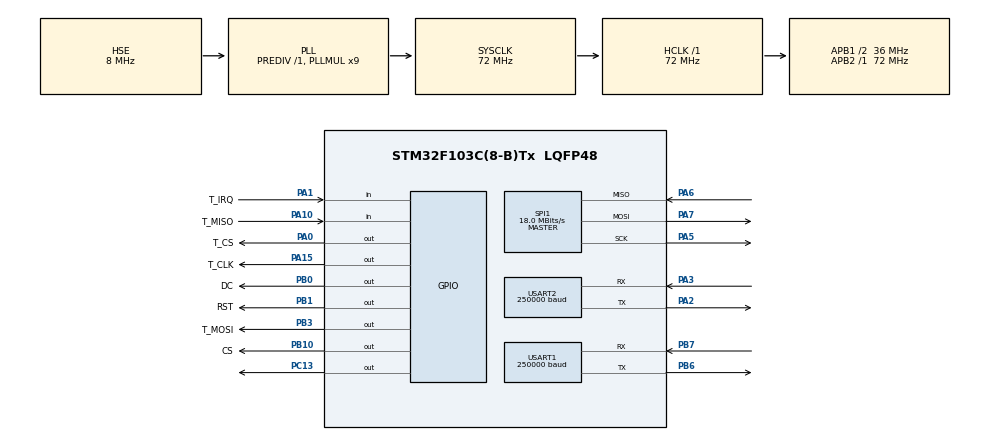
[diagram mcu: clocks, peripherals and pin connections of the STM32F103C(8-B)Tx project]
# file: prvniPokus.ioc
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Mcu.Family=STM32F1
Mcu.Name=STM32F103C(8-B)Tx
Mcu.Package=LQFP48
NVIC.PriorityGroup=NVIC_PRIORITYGROUP_4
NVIC.TIM2_IRQn=true\:0\:0\:false\:false\:true\:true\:true\:true
NVIC.USART1_IRQn=true\:0\:0\:false\:false\:true\:true\:true\:true
NVIC.USART2_IRQn=true\:0\:0\:false\:false\:true\:true\:true\:true
PA0-WKUP.GPIO_Label=T_CS
PA0-WKUP.Signal=GPIO_Output
PA1.GPIO_Label=T_IRQ
PA1.Signal=GPIO_Input
PA10.GPIO_Label=T_MISO
PA10.Signal=GPIO_Input
PA13.Mode=Serial_Wire
PA13.Signal=SYS_JTMS-SWDIO
PA14.Mode=Serial_Wire
PA14.Signal=SYS_JTCK-SWCLK
PA15.GPIO_Label=T_CLK
PA15.GPIO_Speed=GPIO_SPEED_FREQ_HIGH
PA15.Signal=GPIO_Output
PA2.Mode=Asynchronous
PA2.Signal=USART2_TX
PA3.Mode=Asynchronous
PA3.Signal=USART2_RX
PA4.Signal=SPI1_NSS
PA5.Mode=Full_Duplex_Master
PA5.Signal=SPI1_SCK
PA6.Mode=Full_Duplex_Master
PA6.Signal=SPI1_MISO
PA7.Mode=Full_Duplex_Master
PA7.Signal=SPI1_MOSI
PB0.GPIO_Label=DC
PB0.GPIO_Speed=GPIO_SPEED_FREQ_HIGH
PB0.Signal=GPIO_Output
PB1.GPIO_Label=RST
PB1.GPIO_Speed=GPIO_SPEED_FREQ_HIGH
PB1.Signal=GPIO_Output
PB10.GPIO_Label=CS
PB10.GPIO_Speed=GPIO_SPEED_FREQ_HIGH
PB10.PinState=GPIO_PIN_RESET
PB10.Signal=GPIO_Output
PB3.GPIO_Label=T_MOSI
PB3.GPIO_Speed=GPIO_SPEED_FREQ_HIGH
PB3.Signal=GPIO_Output
PB6.Mode=Asynchronous
PB6.Signal=USART1_TX
PB7.Mode=Asynchronous
PB7.Signal=USART1_RX
PC13-TAMPER-RTC.Signal=GPIO_Output
PD0-OSC_IN.Mode=HSE-External-Oscillator
PD0-OSC_IN.Signal=RCC_OSC_IN
PD1-OSC_OUT.Mode=HSE-External-Oscillator
PD1-OSC_OUT.Signal=RCC_OSC_OUT
ProjectManager.HeapSize=0x200
ProjectManager.StackSize=0x400
ProjectManager.TargetToolchain=STM32CubeIDE
RCC.AHBFreq_Value=72000000
RCC.APB1CLKDivider=RCC_HCLK_DIV2
RCC.APB1Freq_Value=36000000
RCC.APB1TimFreq_Value=72000000
RCC.APB2Freq_Value=72000000
RCC.APB2TimFreq_Value=72000000
RCC.HCLKFreq_Value=72000000
RCC.PLLMUL=RCC_PLL_MUL9
RCC.PLLSourceVirtual=RCC_PLLSOURCE_HSE
RCC.SYSCLKFreq_VALUE=72000000
RCC.SYSCLKSource=RCC_SYSCLKSOURCE_PLLCLK
RCC.USBFreq_Value=72000000
SPI1.BaudRatePrescaler=SPI_BAUDRATEPRESCALER_4
SPI1.CalculateBaudRate=18.0 MBits/s
SPI1.Direction=SPI_DIRECTION_2LINES
SPI1.Mode=SPI_MODE_MASTER
SPI1.VirtualType=VM_MASTER
TIM2.Period=1756
TIM2.Prescaler=1000
USART1.BaudRate=250000
USART1.StopBits=STOPBITS_2
USART1.VirtualMode=VM_ASYNC
USART2.BaudRate=250000
USART2.StopBits=STOPBITS_2
USART2.VirtualMode=VM_ASYNC
VP_TIM2_VS_ClockSourceINT.Mode=Internal
board=custom

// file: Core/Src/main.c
/* USER CODE BEGIN Header */
/**
  ******************************************************************************
  * @file           : main.c
  * @brief          : Main program body
  ******************************************************************************
  * @attention
  *
  * Copyright (c) 2023 STMicroelectronics.
  * All rights reserved.
  *
  * This software is licensed under terms that can be found in the LICENSE file
  * in the root directory of this software component.
  * If no LICENSE file comes with this software, it is provided AS-IS.
  *
  ******************************************************************************
  */
/* USER CODE END Header */
#include "main.h"
#include "spi.h"
#include "tim.h"
#include "usart.h"
#include "gpio.h"

/* USER CODE BEGIN Includes */
#include "ILI9341_Touchscreen.h"

#include "ILI9341_STM32_Driver.h"
#include "ILI9341_GFX.h"

//#include "snow_tiger.h"

/* USER CODE END Includes */

/* USER CODE BEGIN PD */
//#define set_pa9_uart() GPIOA->CRH = 0x000000B0 //DEFINE pro -> parametry DMX512, uarty a další PINy
//#define toggle_usart1_de_re() GPIOA->ODR ^= 0x0030
/* USER CODE END PD */

/* USER CODE BEGIN PV */
/* Private variables ---------------------------------------------------------*/

/* USER CODE END PV */

void SystemClock_Config(void);
/* USER CODE BEGIN PFP */
/* Private function prototypes -----------------------------------------------*/

/* USER CODE END PFP */

/* USER CODE BEGIN 0 */
volatile uint8_t uartBuff1[513];
/* USER CODE END 0 */

int main(void)
{
  /* USER CODE BEGIN 1 */
	for(int i=0;i<514;i++)
		{
			uartBuff1[i]=0;
		}
	uartBuff1[0]=0;
	uartBuff1[1]=255;
	uartBuff1[2]=255;
	uartBuff1[3]=255;
	uartBuff1[504]=511;
	uartBuff1[505]=511;
	uartBuff1[508]=511;
	uartBuff1[509]=511;
	uartBuff1[510]=511;
	uartBuff1[511]=511;
	uartBuff1[512]=511; //test
  /* USER CODE END 1 */

  /* MCU Configuration--------------------------------------------------------*/

  /* Reset of all peripherals, Initializes the Flash interface and the Systick. */
  HAL_Init();

  /* Configure the system clock */
  SystemClock_Config();

  /* Initialize all configured peripherals */
  MX_GPIO_Init();
  MX_SPI1_Init();
  MX_USART1_UART_Init();
  MX_TIM2_Init();
  MX_USART2_UART_Init();
  /* USER CODE BEGIN 2 */

  ILI9341_Init();//initial driver setup to drive ili9341
  HAL_TIM_Base_Start_IT(&htim2);
  //__GPIOC_CLK_ENABLE();
  HAL_UARTEx_ReceiveToIdle_IT(&huart2, uartBuff1, 513);

  /* USER CODE END 2 */

  /* Infinite loop */
  while (1)
  {

    /* USER CODE BEGIN 3 */
	  //HAL_UART_Transmit(&huart1, uartBuff1, 513,10);

	  //HAL_Delay(100);
	  ILI9341_Fill_Screen(WHITE);
	  		ILI9341_Set_Rotation(SCREEN_HORIZONTAL_2);
	  		ILI9341_Draw_Text("Touchscreen", 10, 10, BLACK, 2, WHITE);
	  		ILI9341_Draw_Text("Touch to draw", 10, 30, BLACK, 2, WHITE);
	  		ILI9341_Set_Rotation(SCREEN_VERTICAL_1);
	  		HAL_GPIO_TogglePin(GPIOC, GPIO_PIN_13);
	  		while(1)
	  		{

	  			//HAL_GPIO_TogglePin(GPIOC, GPIO_PIN_13);
	  			//HAL_Delay(100);
	  			if(TP_Touchpad_Pressed())
	          {

	  					uint16_t x_pos = 0;
	  					uint16_t y_pos = 0;
	  					//uint16_t yBefore_pos = 0;

	  					//HAL_GPIO_WritePin(GPIOB, LD3_Pin|LD2_Pin, GPIO_PIN_SET);

	            uint16_t position_array[2];

	  					if(TP_Read_Coordinates(position_array) == TOUCHPAD_DATA_OK)
	  					{
	  						//ILI9341_Fill_Screen(WHITE);
	  					x_pos = position_array[0];
	  					y_pos = position_array[1];
	  					//yBefore_pos=position_array[2];
	  					ILI9341_Draw_Filled_Circle(x_pos, y_pos, 2, BLACK);

	  					ILI9341_Set_Rotation(SCREEN_HORIZONTAL_2);
	  					char counter_buff[30];
	  					sprintf(counter_buff, "POS X: %.3d", x_pos);
	  					ILI9341_Draw_Text(counter_buff, 10, 80, BLACK, 2, WHITE);
	  					sprintf(counter_buff, "POS Y: %.3d", y_pos);
	  					ILI9341_Draw_Text(counter_buff, 10, 120, BLACK, 2, WHITE);

	  					ILI9341_Set_Rotation(SCREEN_VERTICAL_1);
	  					}

	  					//ILI9341_Draw_Pixel(x_pos, y_pos, BLACK);

	          }
	  		}
//----------------------------------------------------------PERFORMANCE TEST
		ILI9341_Fill_Screen(WHITE);
		ILI9341_Set_Rotation(SCREEN_HORIZONTAL_2);
		ILI9341_Draw_Text("FPS TEST, 40 loop 2 screens", 10, 10, BLACK, 1, WHITE);
		//HAL_Delay(2000);
		ILI9341_Fill_Screen(WHITE);

		uint32_t Timer_Counter = 0;
		for(uint32_t j = 0; j < 2; j++)
		{
			//HAL_TIM_Base_Start(&htim1);
			for(uint16_t i = 0; i < 10; i++)
			{
				ILI9341_Fill_Screen(WHITE);
				ILI9341_Fill_Screen(BLACK);
			}

			//20.000 per second!
			//HAL_TIM_Base_Stop(&htim1);
			//Timer_Counter += __HAL_TIM_GET_COUNTER(&htim1);
			//__HAL_TIM_SET_COUNTER(&htim1, 0);
		}
		Timer_Counter /= 2;

		char counter_buff[30];
		ILI9341_Fill_Screen(WHITE);
		ILI9341_Set_Rotation(SCREEN_HORIZONTAL_2);
		sprintf(counter_buff, "Timer counter value: %d", Timer_Counter*2);
		ILI9341_Draw_Text(counter_buff, 10, 10, BLACK, 1, WHITE);

		double seconds_passed = 2*((float)Timer_Counter / 20000);

		ILI9341_Draw_Text(counter_buff, 10, 30, BLACK, 2, WHITE);

		double timer_float = 20/(((float)Timer_Counter)/20000);	//Frames per sec

		ILI9341_Draw_Text(counter_buff, 10, 50, BLACK, 2, WHITE);
		double MB_PS = timer_float*240*320*2/1000000;

		ILI9341_Draw_Text(counter_buff, 10, 70, BLACK, 2, WHITE);
		double SPI_utilized_percentage = (MB_PS/(6.25 ))*100;		//50mbits / 8 bits

		ILI9341_Draw_Text(counter_buff, 10, 90, BLACK, 2, WHITE);
		//HAL_Delay(10000);

		static uint16_t x = 0;
		static uint16_t y = 0;

		char Temp_Buffer_text[40];

//----------------------------------------------------------COUNTING MULTIPLE SEGMENTS
		ILI9341_Fill_Screen(WHITE);
		ILI9341_Set_Rotation(SCREEN_HORIZONTAL_2);
		ILI9341_Draw_Text("Counting multiple segments at once", 10, 10, BLACK, 1, WHITE);
		//HAL_Delay(2000);
		ILI9341_Fill_Screen(WHITE);

		for(uint16_t i = 0; i <= 10; i++)
		{
		sprintf(Temp_Buffer_text, "Counting: %d", i);
		ILI9341_Draw_Text(Temp_Buffer_text, 10, 10, BLACK, 2, WHITE);
		ILI9341_Draw_Text(Temp_Buffer_text, 10, 30, BLUE, 2, WHITE);
		ILI9341_Draw_Text(Temp_Buffer_text, 10, 50, RED, 2, WHITE);
		ILI9341_Draw_Text(Temp_Buffer_text, 10, 70, GREEN, 2, WHITE);
		ILI9341_Draw_Text(Temp_Buffer_text, 10, 90, BLACK, 2, WHITE);
		ILI9341_Draw_Text(Temp_Buffer_text, 10, 110, BLUE, 2, WHITE);
		ILI9341_Draw_Text(Temp_Buffer_text, 10, 130, RED, 2, WHITE);
		ILI9341_Draw_Text(Temp_Buffer_text, 10, 150, GREEN, 2, WHITE);
		ILI9341_Draw_Text(Temp_Buffer_text, 10, 170, WHITE, 2, BLACK);
		ILI9341_Draw_Text(Temp_Buffer_text, 10, 190, BLUE, 2, BLACK);
		ILI9341_Draw_Text(Temp_Buffer_text, 10, 210, RED, 2, BLACK);
		}

		//HAL_Delay(1000);

//----------------------------------------------------------COUNTING SINGLE SEGMENT
		ILI9341_Fill_Screen(WHITE);
		ILI9341_Set_Rotation(SCREEN_HORIZONTAL_2);
		ILI9341_Draw_Text("Counting single segment", 10, 10, BLACK, 1, WHITE);
		//HAL_Delay(2000);
		ILI9341_Fill_Screen(WHITE);

		for(uint16_t i = 0; i <= 100; i++)
		{
		sprintf(Temp_Buffer_text, "Counting: %d", i);
		ILI9341_Draw_Text(Temp_Buffer_text, 10, 10, BLACK, 3, WHITE);
		}

		//HAL_Delay(1000);

//----------------------------------------------------------ALIGNMENT TEST
		ILI9341_Fill_Screen(WHITE);
		ILI9341_Set_Rotation(SCREEN_HORIZONTAL_2);
		ILI9341_Draw_Text("Rectangle alignment check", 10, 10, BLACK, 1, WHITE);
		//HAL_Delay(2000);
		ILI9341_Fill_Screen(WHITE);

		ILI9341_Draw_Hollow_Rectangle_Coord(50, 50, 100, 100, BLACK);
		ILI9341_Draw_Filled_Rectangle_Coord(20, 20, 50, 50, BLACK);
		ILI9341_Draw_Hollow_Rectangle_Coord(10, 10, 19, 19, BLACK);
		//HAL_Delay(1000);

//----------------------------------------------------------LINES EXAMPLE
		ILI9341_Fill_Screen(WHITE);
		ILI9341_Set_Rotation(SCREEN_HORIZONTAL_2);
		ILI9341_Draw_Text("Randomly placed and sized", 10, 10, BLACK, 1, WHITE);
		ILI9341_Draw_Text("Horizontal and Vertical lines", 10, 20, BLACK, 1, WHITE);
		//HAL_Delay(2000);
		ILI9341_Fill_Screen(WHITE);

		for(uint32_t i = 0; i < 30000; i++)
		{
			uint32_t random_num = 0;
			uint16_t xr = 0;
			uint16_t yr = 0;
			uint16_t radiusr = 0;
			uint16_t colourr = 0;

			xr &= 0x01FF;
			yr &= 0x01FF;
			radiusr &= 0x001F;
			//ili9341_drawpixel(xr, yr, WHITE);
			ILI9341_Draw_Horizontal_Line(xr, yr, radiusr, colourr);
			ILI9341_Draw_Vertical_Line(xr, yr, radiusr, colourr);
		}

		//HAL_Delay(1000);

//----------------------------------------------------------HOLLOW CIRCLES EXAMPLE
		ILI9341_Fill_Screen(WHITE);
		ILI9341_Set_Rotation(SCREEN_HORIZONTAL_2);
		ILI9341_Draw_Text("Randomly placed and sized", 10, 10, BLACK, 1, WHITE);
		ILI9341_Draw_Text("Circles", 10, 20, BLACK, 1, WHITE);
		//HAL_Delay(2000);
		ILI9341_Fill_Screen(WHITE);

		for(uint32_t i = 0; i < 3000; i++)
		{
			uint32_t random_num = 0;
			uint16_t xr = 0;
			uint16_t yr = 0;
			uint16_t radiusr = 0;
			uint16_t colourr = 0;

			xr &= 0x01FF;
			yr &= 0x01FF;
			radiusr &= 0x001F;
			//ili9341_drawpixel(xr, yr, WHITE);
			ILI9341_Draw_Hollow_Circle(xr, yr, radiusr*2, colourr);
		}
		//HAL_Delay(1000);

//----------------------------------------------------------FILLED CIRCLES EXAMPLE
		ILI9341_Fill_Screen(WHITE);
		ILI9341_Set_Rotation(SCREEN_HORIZONTAL_2);
		ILI9341_Draw_Text("Randomly placed and sized", 10, 10, BLACK, 1, WHITE);
		ILI9341_Draw_Text("Filled Circles", 10, 20, BLACK, 1, WHITE);
		//HAL_Delay(2000);
		ILI9341_Fill_Screen(WHITE);

		for(uint32_t i = 0; i < 1000; i++)
		{
			uint32_t random_num = 0;
			uint16_t xr = 0;
			uint16_t yr = 0;
			uint16_t radiusr = 0;
			uint16_t colourr = 0;

			xr &= 0x01FF;
			yr &= 0x01FF;
			radiusr &= 0x001F;
			//ili9341_drawpixel(xr, yr, WHITE);
			ILI9341_Draw_Filled_Circle(xr, yr, radiusr/2, colourr);
		}
		//HAL_Delay(1000);

//----------------------------------------------------------HOLLOW RECTANGLES EXAMPLE
		ILI9341_Fill_Screen(WHITE);
		ILI9341_Set_Rotation(SCREEN_HORIZONTAL_2);
		ILI9341_Draw_Text("Randomly placed and sized", 10, 10, BLACK, 1, WHITE);
		ILI9341_Draw_Text("Rectangles", 10, 20, BLACK, 1, WHITE);
		//HAL_Delay(2000);
		ILI9341_Fill_Screen(WHITE);

		for(uint32_t i = 0; i < 20000; i++)
		{
			uint32_t random_num = 0;
			uint16_t xr = 0;
			uint16_t yr = 0;
			uint16_t radiusr = 0;
			uint16_t colourr = 0;

			xr &= 0x01FF;
			yr &= 0x01FF;
			radiusr &= 0x001F;
			//ili9341_drawpixel(xr, yr, WHITE);
			ILI9341_Draw_Hollow_Rectangle_Coord(xr, yr, xr+radiusr, yr+radiusr, colourr);
		}
		//HAL_Delay(1000);

//----------------------------------------------------------FILLED RECTANGLES EXAMPLE
		ILI9341_Fill_Screen(WHITE);
		ILI9341_Set_Rotation(SCREEN_HORIZONTAL_2);
		ILI9341_Draw_Text("Randomly placed and sized", 10, 10, BLACK, 1, WHITE);
		ILI9341_Draw_Text("Filled Rectangles", 10, 20, BLACK, 1, WHITE);
		//HAL_Delay(2000);
		ILI9341_Fill_Screen(WHITE);

		for(uint32_t i = 0; i < 20000; i++)
		{
			uint32_t random_num = 0;
			uint16_t xr = 0;
			uint16_t yr = 0;
			uint16_t radiusr = 0;
			uint16_t colourr = 0;

			xr = 1;

			yr = 2;

			radiusr = 3;

			colourr = 4;

			xr &= 0x01FF;
			yr &= 0x01FF;
			radiusr &= 0x001F;
			//ili9341_drawpixel(xr, yr, WHITE);
			ILI9341_Draw_Rectangle(xr, yr, radiusr, radiusr, colourr);
		}
		//HAL_Delay(1000);

//----------------------------------------------------------INDIVIDUAL PIXEL EXAMPLE

		ILI9341_Fill_Screen(WHITE);
		ILI9341_Set_Rotation(SCREEN_HORIZONTAL_2);
		ILI9341_Draw_Text("Slow draw by selecting", 10, 10, BLACK, 1, WHITE);
		ILI9341_Draw_Text("and adressing pixels", 10, 20, BLACK, 1, WHITE);
		//HAL_Delay(2000);
		ILI9341_Fill_Screen(WHITE);

		x = 0;
		y = 0;
		while (y < 240)
		{
		while ((x < 320) && (y < 240))
		{

			if(x % 2)
			{
				ILI9341_Draw_Pixel(x, y, BLACK);
			}

			x++;
		}

			y++;
			x = 0;
		}

		x = 0;
		y = 0;

		while (y < 240)
		{
		while ((x < 320) && (y < 240))
		{

			if(y % 2)
			{
				ILI9341_Draw_Pixel(x, y, BLACK);
			}

			x++;
		}

			y++;
			x = 0;
		}
		//HAL_Delay(2000);

//----------------------------------------------------------INDIVIDUAL PIXEL EXAMPLE
		ILI9341_Fill_Screen(WHITE);
		ILI9341_Set_Rotation(SCREEN_HORIZONTAL_2);
		ILI9341_Draw_Text("Random position and colour", 10, 10, BLACK, 1, WHITE);
		ILI9341_Draw_Text("500000 pixels", 10, 20, BLACK, 1, WHITE);
		//HAL_Delay(2000);
		ILI9341_Fill_Screen(WHITE);

		for(uint32_t i = 0; i < 500000; i++)
		{
			uint32_t random_num = 0;
			uint16_t xr = 0;
			uint16_t yr = 0;

			xr = 5;

			yr = 6;
			uint16_t color = 5;

			xr &= 0x01FF;
			yr &= 0x01FF;
			ILI9341_Draw_Pixel(xr, yr, color);
		}
		//HAL_Delay(2000);

//----------------------------------------------------------565 COLOUR EXAMPLE, Grayscale
		ILI9341_Fill_Screen(WHITE);
		ILI9341_Set_Rotation(SCREEN_HORIZONTAL_2);
		ILI9341_Draw_Text("Colour gradient", 10, 10, BLACK, 1, WHITE);
		ILI9341_Draw_Text("Grayscale", 10, 20, BLACK, 1, WHITE);
		//HAL_Delay(2000);

		for(uint16_t i = 0; i <= (320); i++)
		{
			uint16_t Red = 0;
			uint16_t Green = 0;
			uint16_t Blue = 0;

			Red = i/(10);
			Red <<= 11;
			Green = i/(5);
			Green <<= 5;
			Blue = i/(10);

			uint16_t RGB_color = Red + Green + Blue;
			ILI9341_Draw_Rectangle(i, x, 1, 240, RGB_color);

		}
		//HAL_Delay(2000);

//----------------------------------------------------------IMAGE EXAMPLE, Snow Tiger

//----------------------------------------------------------TOUCHSCREEN EXAMPLE
		ILI9341_Fill_Screen(WHITE);
		ILI9341_Set_Rotation(SCREEN_HORIZONTAL_2);
		ILI9341_Draw_Text("Touchscreen", 10, 10, BLACK, 2, WHITE);
		ILI9341_Draw_Text("Touch to draw", 10, 30, BLACK, 2, WHITE);
		ILI9341_Set_Rotation(SCREEN_VERTICAL_1);

		while(1)
		{

			if(TP_Touchpad_Pressed())
        {

					uint16_t x_pos = 0;
					uint16_t y_pos = 0;

					//HAL_GPIO_WritePin(GPIOB, LD3_Pin|LD2_Pin, GPIO_PIN_SET);

          uint16_t position_array[2];

					if(TP_Read_Coordinates(position_array) == TOUCHPAD_DATA_OK)
					{
					x_pos = position_array[0]-111;
					y_pos = position_array[1]-324;
					ILI9341_Draw_Filled_Circle(x_pos, y_pos, 2, BLACK);

					ILI9341_Set_Rotation(SCREEN_HORIZONTAL_2);
					char counter_buff[30];
					sprintf(counter_buff, "POS X: %.3d", x_pos);
					ILI9341_Draw_Text(counter_buff, 10, 80, BLACK, 2, WHITE);
					sprintf(counter_buff, "POS Y: %.3d", y_pos);
					ILI9341_Draw_Text(counter_buff, 10, 120, BLACK, 2, WHITE);
					ILI9341_Set_Rotation(SCREEN_VERTICAL_1);
					}

					//ILI9341_Draw_Pixel(x_pos, y_pos, BLACK);

        }
			else
			{
				//HAL_GPIO_WritePin(GPIOB, LD3_Pin|LD2_Pin, GPIO_PIN_RESET);
			}

		}

  }
  /* USER CODE END 3 */
}

void SystemClock_Config(void)
{
  RCC_OscInitTypeDef RCC_OscInitStruct = {0};
  RCC_ClkInitTypeDef RCC_ClkInitStruct = {0};

  /** Initializes the RCC Oscillators according to the specified parameters
  * in the RCC_OscInitTypeDef structure.
  */
  RCC_OscInitStruct.OscillatorType = RCC_OSCILLATORTYPE_HSE;
  RCC_OscInitStruct.HSEState = RCC_HSE_ON;
  RCC_OscInitStruct.HSEPredivValue = RCC_HSE_PREDIV_DIV1;
  RCC_OscInitStruct.HSIState = RCC_HSI_ON;
  RCC_OscInitStruct.PLL.PLLState = RCC_PLL_ON;
  RCC_OscInitStruct.PLL.PLLSource = RCC_PLLSOURCE_HSE;
  RCC_OscInitStruct.PLL.PLLMUL = RCC_PLL_MUL9;
  if (HAL_RCC_OscConfig(&RCC_OscInitStruct) != HAL_OK)
  {
    Error_Handler();
  }

  /** Initializes the CPU, AHB and APB buses clocks
  */
  RCC_ClkInitStruct.ClockType = RCC_CLOCKTYPE_HCLK|RCC_CLOCKTYPE_SYSCLK
                              |RCC_CLOCKTYPE_PCLK1|RCC_CLOCKTYPE_PCLK2;
  RCC_ClkInitStruct.SYSCLKSource = RCC_SYSCLKSOURCE_PLLCLK;
  RCC_ClkInitStruct.AHBCLKDivider = RCC_SYSCLK_DIV1;
  RCC_ClkInitStruct.APB1CLKDivider = RCC_HCLK_DIV2;
  RCC_ClkInitStruct.APB2CLKDivider = RCC_HCLK_DIV1;

  if (HAL_RCC_ClockConfig(&RCC_ClkInitStruct, FLASH_LATENCY_2) != HAL_OK)
  {
    Error_Handler();
  }
}

/* USER CODE BEGIN 4 */
void HAL_UARTEx_RxEventCallback(UART_HandleTypeDef *huart, uint16_t Size) //nevykonává se, proč?
{
	HAL_UARTEx_ReceiveToIdle_IT(&huart2, uartBuff1, 513);
}
void HAL_TIM_PeriodElapsedCallback(TIM_HandleTypeDef* htim)
{
	//RCC->APB2ENR |= RCC_APB2ENR_IOPAEN;

	//HAL_GPIO_WritePin(GPIOA, GPIO_PIN_2,GPIO_PIN_SET);
	//uint32_t i=8*30;
	//while(i--);
	GPIO_Tx_Config_AF(); //Přidej MAB
	//uint32_t i=8*15;
	//while(i--); //Pro MAB, funguje i tak
	//GPIOA->CRL &= ~(GPIO_CRL_MODE2 | GPIO_CRL_CNF2); // Clear bits for Pin 2
	//GPIOA->CRL |= GPIO_CRL_CNF2_1;

	//HAL_Delay(1);
    //huart2.Instance->CR1 |= USART_CR1_SBK;  // Start Break

	//SET_BIT(huart2.Instance->CR1, USART_CR1_UE);

    //while (READ_BIT(huart2.Instance->SR, USART_SR_TC) == RESET) {}  // Wait for Break to complete
    //huart2.Instance->CR1 &= ~USART_CR1_SBK;  // End Break
	//HAL_GPIO_WritePin(GPIOA, GPIO_PIN_2,GPIO_PIN_SET);
	//HAL_UART_Transmit_IT(&huart2, 512, 1);
	//HAL_UART_Transmit_IT(&huart2, 512, 1);
	HAL_GPIO_TogglePin(GPIOC, GPIO_PIN_13); //Nastavit dýlku MAB (dle osciloskopu), zjistit kde je chyba - převodník (zjistit jiným převodníkem/světlo)
	HAL_UART_Transmit_IT(&huart2, uartBuff1, 513); //Proč nejede 512, jak moc zásadní může být break aby zůstal fungovat displej ale specifikace byla splněná - nijak, používal jsem poll metodu? - co když bude zapojený do řady, nebude ničit časování - zkontrolovat formát odesílání osciloskopem??????? Zkontrolovat modrým převodníkem, zda ven leze to co má...
	//HAL_GPIO_WritePin(GPIOA, GPIO_PIN_2,GPIO_PIN_RESET);
	//HAL_UART_TransmitBreak(&huart1);
	//HAL_LIN_SendBreak(&huart1);
	// ILI9341_Draw_Text("TEST", 10, 10, BLACK, 1, WHITE);
	//CLEAR_BIT(huart2.Instance->CR1, USART_CR1_UE);
	//HAL_GPIO_WritePin(GPIOA, GPIO_PIN_2,GPIO_PIN_RESET);
	//SET_BIT(huart2.Instance->CR1, USART_CR1_UE);
	//CLEAR_BIT(huart2.Instance->CR1, USART_CR1_UE);
	// Enable clock for GPIOA

	    // Configure GPIOA Pin 2 as General Purpose Output
	//GPIOA->CRL &= ~(GPIO_CRL_MODE2 | GPIO_CRL_CNF2); // Clear bits for Pin 2
	//GPIOA->CRL |= GPIO_CRL_MODE2_0; // Set Pin 2 as Output, max speed 10 MHz

}
void HAL_UART_TxCpltCallback(UART_HandleTypeDef *huart)
{
   // do nothing here
	//HAL_Delay(1);
	//uint32_t i=8*1000; //Na konci nemusí být delay
	//while(i--);
	GPIO_Tx_Config_OUT();
	HAL_GPIO_WritePin(GPIOA, GPIO_PIN_2,GPIO_PIN_RESET);
}

void GPIO_Tx_Config_OUT(void)
{
    GPIO_InitTypeDef GPIO_InitStruct;

      /*Configure GPIO pin : PtPin */
    GPIO_InitStruct.Pin = GPIO_PIN_2; //zkusit napsat jiný jméno
    GPIO_InitStruct.Mode = GPIO_MODE_OUTPUT_PP;
    GPIO_InitStruct.Speed = GPIO_SPEED_FREQ_HIGH;
    HAL_GPIO_Init(GPIOA, &GPIO_InitStruct);
}
void GPIO_Tx_Config_AF(void)
{
    GPIO_InitTypeDef GPIO_InitStruct;

      /*Configure GPIO pin : PtPin */
    GPIO_InitStruct.Pin = GPIO_PIN_2;
    GPIO_InitStruct.Mode = GPIO_MODE_AF_PP;
    GPIO_InitStruct.Speed = GPIO_SPEED_FREQ_HIGH;
    HAL_GPIO_Init(GPIOA, &GPIO_InitStruct);
}
/* USER CODE END 4 */

void Error_Handler(void)
{
  __disable_irq();
  while (1)
  {
  }
}
